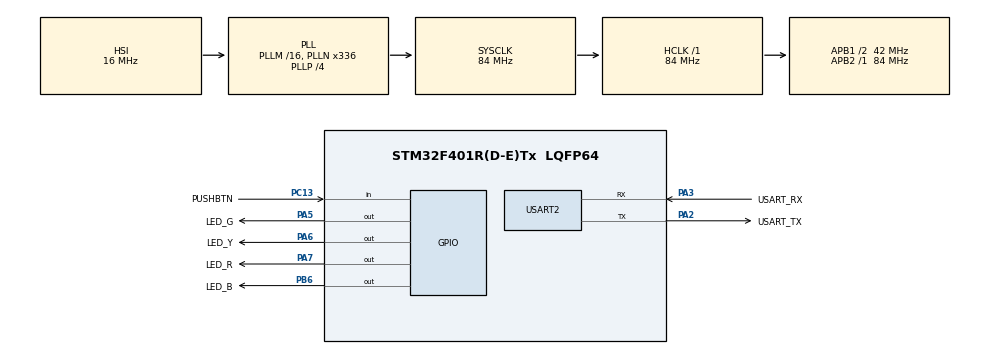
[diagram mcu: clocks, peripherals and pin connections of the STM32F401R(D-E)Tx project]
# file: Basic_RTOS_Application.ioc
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Mcu.Family=STM32F4
Mcu.Name=STM32F401R(D-E)Tx
Mcu.Package=LQFP64
NVIC.PriorityGroup=NVIC_PRIORITYGROUP_4
NVIC.TIM5_IRQn=true\:0\:0\:false\:false\:true\:false\:true\:true
NVIC.TimeBase=TIM5_IRQn
NVIC.TimeBaseIP=TIM5
NVIC.USART2_IRQn=true\:6\:0\:true\:false\:true\:true\:true\:true
PA13.GPIO_Label=TMS
PA13.Signal=SYS_JTMS-SWDIO
PA14.GPIO_Label=TCK
PA14.Signal=SYS_JTCK-SWCLK
PA2.GPIO_Label=USART_TX
PA2.GPIO_Mode=GPIO_MODE_AF_PP
PA2.GPIO_PuPd=GPIO_NOPULL
PA2.GPIO_Speed=GPIO_SPEED_FREQ_LOW
PA2.Mode=Asynchronous
PA2.Signal=USART2_TX
PA3.GPIO_Label=USART_RX
PA3.GPIO_Mode=GPIO_MODE_AF_PP
PA3.GPIO_PuPd=GPIO_NOPULL
PA3.GPIO_Speed=GPIO_SPEED_FREQ_LOW
PA3.Mode=Asynchronous
PA3.Signal=USART2_RX
PA5.GPIO_Label=LED_G
PA5.Signal=GPIO_Output
PA6.GPIO_Label=LED_Y
PA6.Signal=GPIO_Output
PA7.GPIO_Label=LED_R
PA7.Signal=GPIO_Output
PB3.GPIO_Label=SWO
PB3.Signal=SYS_JTDO-SWO
PB6.GPIO_Label=LED_B
PB6.Signal=GPIO_Output
PC13-ANTI_TAMP.GPIO_Label=PUSHBTN
PC13-ANTI_TAMP.Signal=GPIO_Input
PC14-OSC32_IN.Signal=RCC_OSC32_IN
PC15-OSC32_OUT.Signal=RCC_OSC32_OUT
PH0\ -\ OSC_IN.Signal=RCC_OSC_IN
PH1\ -\ OSC_OUT.Signal=RCC_OSC_OUT
ProjectManager.HeapSize=0x200
ProjectManager.StackSize=0x400
ProjectManager.TargetToolchain=STM32CubeIDE
RCC.AHBFreq_Value=84000000
RCC.APB1CLKDivider=RCC_HCLK_DIV2
RCC.APB1Freq_Value=42000000
RCC.APB1TimFreq_Value=84000000
RCC.APB2Freq_Value=84000000
RCC.APB2TimFreq_Value=84000000
RCC.CortexFreq_Value=84000000
RCC.HCLKFreq_Value=84000000
RCC.HSE_VALUE=8000000
RCC.HSI_VALUE=16000000
RCC.LSE_VALUE=32768
RCC.PLLN=336
RCC.PLLP=RCC_PLLP_DIV4
RCC.PLLQ=7
RCC.SYSCLKFreq_VALUE=84000000
RCC.SYSCLKSource=RCC_SYSCLKSOURCE_PLLCLK
RCC.VCOOutputFreq_Value=336000000
RTC.HourFormat=RTC_HOURFORMAT_12
USART2.VirtualMode=VM_ASYNC
VP_RTC_VS_RTC_Activate.Mode=RTC_Enabled
VP_SYS_VS_tim5.Mode=TIM5
board=NUCLEO-F401RE

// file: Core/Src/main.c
/* USER CODE BEGIN Header */
/**
  ******************************************************************************
  * @file           : main.c
  * @brief          : Main program body
  ******************************************************************************
  * @attention
  *
  * Copyright (c) 2024 STMicroelectronics.
  * All rights reserved.
  *
  * This software is licensed under terms that can be found in the LICENSE file
  * in the root directory of this software component.
  * If no LICENSE file comes with this software, it is provided AS-IS.
  *
  ******************************************************************************
  */
/* USER CODE END Header */
#include "main.h"

/* USER CODE BEGIN Includes */
#include "FreeRTOS.h"
#include "task.h"

/* USER CODE END Includes */

RTC_HandleTypeDef hrtc;

UART_HandleTypeDef huart2;

void SystemClock_Config(void);
static void MX_GPIO_Init(void);
static void MX_RTC_Init(void);
static void MX_USART2_UART_Init(void);

/* USER CODE BEGIN 0 */
TaskHandle_t menu_task_handle,led_task_handle,rtc_task_handle, cmd_task_handle, print_task_handle;
QueueHandle_t q_data,q_print;
volatile uint8_t user_data;
void blink_led_in_pattern_callback();

TimerHandle_t handle_led_timer[4];

state_t curr_state = sMainMenu;

/* USER CODE END 0 */

int main(void)
{
  /* USER CODE BEGIN 1 */

	BaseType_t ret;

  /* USER CODE END 1 */

  /* MCU Configuration--------------------------------------------------------*/

  /* Reset of all peripherals, Initializes the Flash interface and the Systick. */
  HAL_Init();

  /* Configure the system clock */
  SystemClock_Config();

  /* Initialize all configured peripherals */
  MX_GPIO_Init();
  MX_RTC_Init();
  MX_USART2_UART_Init();
  /* USER CODE BEGIN 2 */
  ret = xTaskCreate(menu_handler,"Menu_Task",250,NULL,2, &menu_task_handle);
  configASSERT(ret==pdPASS);

  ret = xTaskCreate(cmd_handler,"cmd_Task",250,NULL,2, &cmd_task_handle);
  configASSERT(ret==pdPASS);

  ret = xTaskCreate(rtc_handler,"rtc_Task",250,NULL,2, &rtc_task_handle);
  configASSERT(ret==pdPASS);

  ret = xTaskCreate(led_handler,"led_Task",250,NULL,2, &led_task_handle);
  configASSERT(ret==pdPASS);

  ret = xTaskCreate(print_handler,"print_Task",250,NULL,2, &print_task_handle);
  configASSERT(ret==pdPASS);

  q_data = xQueueCreate(10,sizeof(char));
  configASSERT(q_data!=NULL);

  q_print = xQueueCreate(10,sizeof(size_t));
  configASSERT(q_print!=NULL);

  //Create software timers for LED blink pattern
  for(int i = 0; i<4; i++)
  {
	  handle_led_timer[i] = xTimerCreate("led_timer",pdMS_TO_TICKS(500),pdTRUE,(void *)(i+1),blink_led_in_pattern_callback);
  }

  HAL_UART_Receive_IT(&huart2, &user_data, 1);

  vTaskStartScheduler();

  /* USER CODE END 2 */

  /* Infinite loop */
  while (1)
  {

  }
}

void SystemClock_Config(void)
{
  RCC_OscInitTypeDef RCC_OscInitStruct = {0};
  RCC_ClkInitTypeDef RCC_ClkInitStruct = {0};

  /** Configure the main internal regulator output voltage
  */
  __HAL_RCC_PWR_CLK_ENABLE();
  __HAL_PWR_VOLTAGESCALING_CONFIG(PWR_REGULATOR_VOLTAGE_SCALE2);

  /** Initializes the RCC Oscillators according to the specified parameters
  * in the RCC_OscInitTypeDef structure.
  */
  RCC_OscInitStruct.OscillatorType = RCC_OSCILLATORTYPE_HSI|RCC_OSCILLATORTYPE_LSI;
  RCC_OscInitStruct.HSIState = RCC_HSI_ON;
  RCC_OscInitStruct.HSICalibrationValue = RCC_HSICALIBRATION_DEFAULT;
  RCC_OscInitStruct.LSIState = RCC_LSI_ON;
  RCC_OscInitStruct.PLL.PLLState = RCC_PLL_ON;
  RCC_OscInitStruct.PLL.PLLSource = RCC_PLLSOURCE_HSI;
  RCC_OscInitStruct.PLL.PLLM = 16;
  RCC_OscInitStruct.PLL.PLLN = 336;
  RCC_OscInitStruct.PLL.PLLP = RCC_PLLP_DIV4;
  RCC_OscInitStruct.PLL.PLLQ = 7;
  if (HAL_RCC_OscConfig(&RCC_OscInitStruct) != HAL_OK)
  {
    Error_Handler();
  }

  /** Initializes the CPU, AHB and APB buses clocks
  */
  RCC_ClkInitStruct.ClockType = RCC_CLOCKTYPE_HCLK|RCC_CLOCKTYPE_SYSCLK
                              |RCC_CLOCKTYPE_PCLK1|RCC_CLOCKTYPE_PCLK2;
  RCC_ClkInitStruct.SYSCLKSource = RCC_SYSCLKSOURCE_PLLCLK;
  RCC_ClkInitStruct.AHBCLKDivider = RCC_SYSCLK_DIV1;
  RCC_ClkInitStruct.APB1CLKDivider = RCC_HCLK_DIV2;
  RCC_ClkInitStruct.APB2CLKDivider = RCC_HCLK_DIV1;

  if (HAL_RCC_ClockConfig(&RCC_ClkInitStruct, FLASH_LATENCY_2) != HAL_OK)
  {
    Error_Handler();
  }
}

static void MX_RTC_Init(void)
{

  /** Initialize RTC Only
  */
  hrtc.Instance = RTC;
  hrtc.Init.HourFormat = RTC_HOURFORMAT_12;
  hrtc.Init.AsynchPrediv = 127;
  hrtc.Init.SynchPrediv = 255;
  hrtc.Init.OutPut = RTC_OUTPUT_DISABLE;
  hrtc.Init.OutPutPolarity = RTC_OUTPUT_POLARITY_HIGH;
  hrtc.Init.OutPutType = RTC_OUTPUT_TYPE_OPENDRAIN;
  if (HAL_RTC_Init(&hrtc) != HAL_OK)
  {
    Error_Handler();
  }

}

static void MX_USART2_UART_Init(void)
{

  huart2.Instance = USART2;
  huart2.Init.BaudRate = 115200;
  huart2.Init.WordLength = UART_WORDLENGTH_8B;
  huart2.Init.StopBits = UART_STOPBITS_1;
  huart2.Init.Parity = UART_PARITY_NONE;
  huart2.Init.Mode = UART_MODE_TX_RX;
  huart2.Init.HwFlowCtl = UART_HWCONTROL_NONE;
  huart2.Init.OverSampling = UART_OVERSAMPLING_16;
  if (HAL_UART_Init(&huart2) != HAL_OK)
  {
    Error_Handler();
  }

}

static void MX_GPIO_Init(void)
{
  GPIO_InitTypeDef GPIO_InitStruct = {0};

  /* GPIO Ports Clock Enable */
  __HAL_RCC_GPIOC_CLK_ENABLE();
  __HAL_RCC_GPIOH_CLK_ENABLE();
  __HAL_RCC_GPIOA_CLK_ENABLE();
  __HAL_RCC_GPIOB_CLK_ENABLE();

  /*Configure GPIO pin Output Level */
  HAL_GPIO_WritePin(GPIOA, LED_G_Pin|LED_Y_Pin|LED_R_Pin, GPIO_PIN_RESET);

  /*Configure GPIO pin Output Level */
  HAL_GPIO_WritePin(LED_B_GPIO_Port, LED_B_Pin, GPIO_PIN_RESET);

  /*Configure GPIO pin : PUSHBTN_Pin */
  GPIO_InitStruct.Pin = PUSHBTN_Pin;
  GPIO_InitStruct.Mode = GPIO_MODE_INPUT;
  GPIO_InitStruct.Pull = GPIO_NOPULL;
  HAL_GPIO_Init(PUSHBTN_GPIO_Port, &GPIO_InitStruct);

  /*Configure GPIO pins : LED_G_Pin LED_Y_Pin LED_R_Pin */
  GPIO_InitStruct.Pin = LED_G_Pin|LED_Y_Pin|LED_R_Pin;
  GPIO_InitStruct.Mode = GPIO_MODE_OUTPUT_PP;
  GPIO_InitStruct.Pull = GPIO_NOPULL;
  GPIO_InitStruct.Speed = GPIO_SPEED_FREQ_LOW;
  HAL_GPIO_Init(GPIOA, &GPIO_InitStruct);

  /*Configure GPIO pin : LED_B_Pin */
  GPIO_InitStruct.Pin = LED_B_Pin;
  GPIO_InitStruct.Mode = GPIO_MODE_OUTPUT_PP;
  GPIO_InitStruct.Pull = GPIO_NOPULL;
  GPIO_InitStruct.Speed = GPIO_SPEED_FREQ_LOW;
  HAL_GPIO_Init(LED_B_GPIO_Port, &GPIO_InitStruct);

}

/* USER CODE BEGIN 4 */
void HAL_UART_RxCpltCallback(UART_HandleTypeDef *huart)
{
	uint8_t temp;

	/*Enqueue the user entered data if the queue is not full*/
	if(!xQueueIsQueueFullFromISR(q_data))
	{
		xQueueSendFromISR(q_data, (void *)&user_data,NULL);
	}
	else
	{
		/*If queue is full and the entered char is line feed, replace it as the last element in queue*/
		if(user_data=='\n')
		{
			xQueueReceiveFromISR(q_data,(void *)&temp,NULL);
			xQueueSendFromISR(q_data,(void *)&user_data,NULL);

		}
	}

	/*If line feed is entered, notify the command handling task*/
	if(user_data=='\n')
	{
			xTaskNotifyFromISR(cmd_task_handle, 0,eNoAction, NULL);
	}

	/*Enabling the UART data reception again in IT mode*/
	HAL_UART_Receive_IT(&huart2,(uint8_t *)&user_data,NULL);

}

void blink_led_in_pattern_callback(TimerHandle_t xTimer )
{
	int id;
	id = (uint32_t)pvTimerGetTimerID(xTimer);

	switch(id)
	{
	case 1:
		blink_led_in_pattern1();
		break;
	case 2:
		blink_led_in_pattern2();
		break;
	case 3:
		blink_led_in_pattern3();
		break;
	case 4:
		blink_led_in_pattern4();
		break;
	}
}

/* USER CODE END 4 */

void HAL_TIM_PeriodElapsedCallback(TIM_HandleTypeDef *htim)
{
  if (htim->Instance == TIM5) {
    HAL_IncTick();
  }
}

void Error_Handler(void)
{
  __disable_irq();
  while (1)
  {
  }
}
